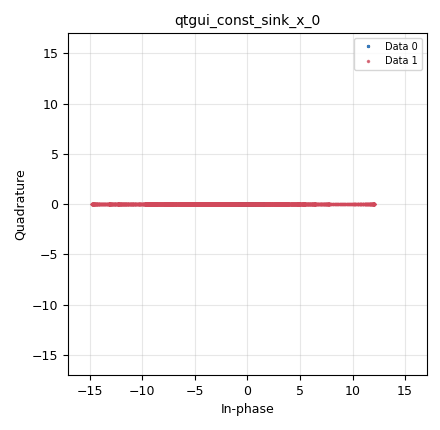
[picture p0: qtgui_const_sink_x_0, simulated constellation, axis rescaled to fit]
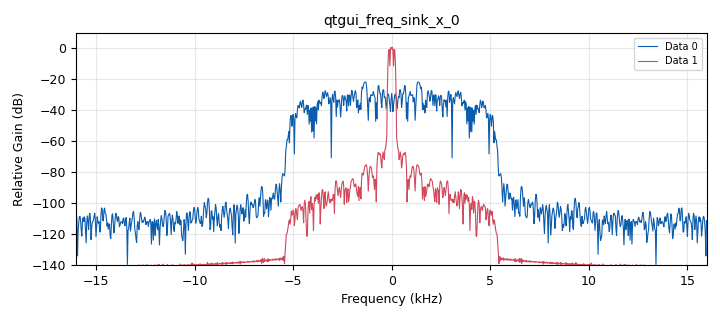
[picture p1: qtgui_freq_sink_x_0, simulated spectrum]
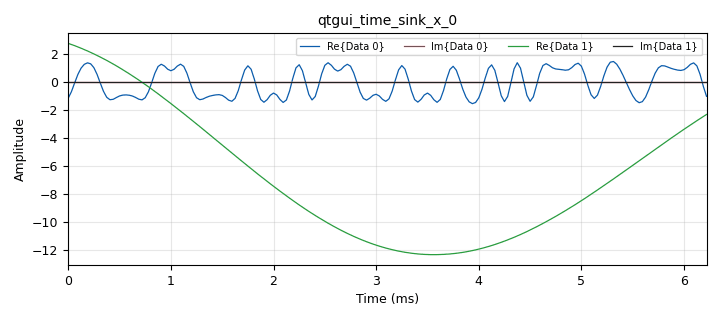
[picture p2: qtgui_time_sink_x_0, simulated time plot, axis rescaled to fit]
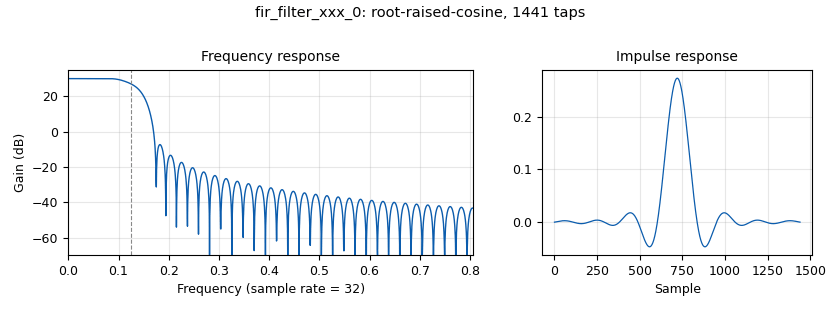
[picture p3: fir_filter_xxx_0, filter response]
options:
  parameters:
    generate_options: qt_gui
    id: bpsk_test
    output_language: python
    title: bpsk_test
  states: {}

blocks:
- name: bpsk
  id: variable_constellation
  parameters:
    precision: '8'
    type: bpsk
  states: {}
- name: excess_bw
  id: variable
  parameters:
    value: '0.35'
  states: {}
- name: nfilts
  id: variable
  parameters:
    value: '32'
  states: {}
- name: rrc_taps
  id: variable
  parameters:
    value: firdes.root_raised_cosine(nfilts, nfilts, 1.0/float(sps), 0.35, 45*nfilts)
  states: {}
- name: samp_rate
  id: variable
  parameters:
    value: '32000'
  states: {}
- name: sps
  id: variable
  parameters:
    value: '4'
  states: {}
- name: analog_random_source_x_0
  id: analog_random_source_x
  parameters:
    max: '256'
    min: '0'
    num_samps: '10000'
    repeat: 'True'
    type: byte
  states: {}
- name: blocks_throttle_0
  id: blocks_throttle
  parameters:
    samples_per_second: samp_rate
    type: complex
  states: {}
- name: digital_constellation_modulator_0
  id: digital_constellation_modulator
  parameters:
    constellation: bpsk
    differential: 'True'
    excess_bw: excess_bw
    samples_per_symbol: sps
  states: {}
- name: fir_filter_xxx_0
  id: fir_filter_xxx
  parameters:
    decim: '1'
    taps: rrc_taps
    type: ccf
  states: {}
- name: qtgui_const_sink_x_0
  id: qtgui_const_sink_x
  parameters:
    nconnections: '2'
    size: '4096'
    type: complex
  states: {}
- name: qtgui_freq_sink_x_0
  id: qtgui_freq_sink_x
  parameters:
    bw: samp_rate
    fc: '0'
    fftsize: '1024'
    nconnections: '2'
    type: complex
    wintype: firdes.WIN_BLACKMAN_hARRIS
  states: {}
- name: qtgui_time_sink_x_0
  id: qtgui_time_sink_x
  parameters:
    nconnections: '2'
    size: '200'
    srate: samp_rate
    type: complex
  states: {}

connections:
- [analog_random_source_x_0, '0', digital_constellation_modulator_0, '0']
- [blocks_throttle_0, '0', fir_filter_xxx_0, '0']
- [blocks_throttle_0, '0', qtgui_const_sink_x_0, '0']
- [blocks_throttle_0, '0', qtgui_freq_sink_x_0, '0']
- [blocks_throttle_0, '0', qtgui_time_sink_x_0, '0']
- [digital_constellation_modulator_0, '0', blocks_throttle_0, '0']
- [fir_filter_xxx_0, '0', qtgui_const_sink_x_0, '1']
- [fir_filter_xxx_0, '0', qtgui_freq_sink_x_0, '1']
- [fir_filter_xxx_0, '0', qtgui_time_sink_x_0, '1']

metadata:
  file_format: 1
